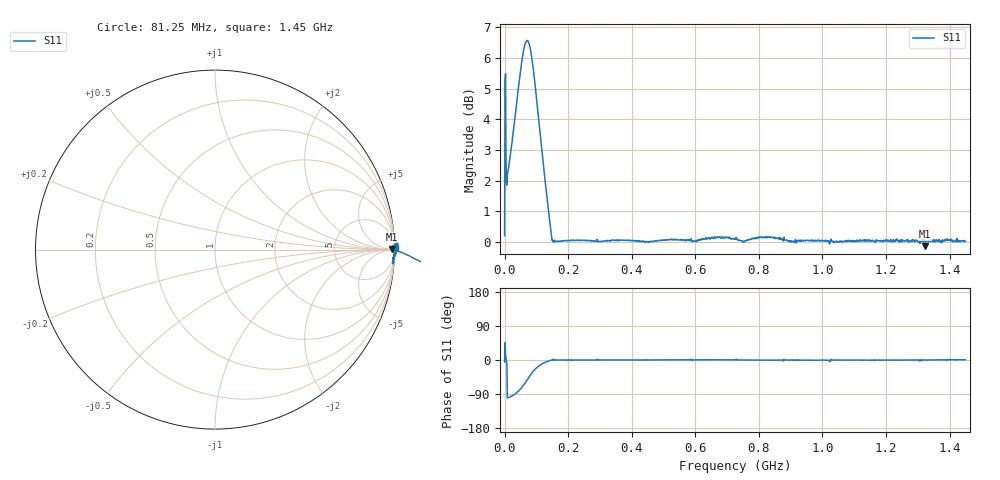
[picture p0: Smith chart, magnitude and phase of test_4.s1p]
! Created with skrf 1.11.0 (http://scikit-rf.org).
# Hz S RI R 50.0
!freq ReS11 ImS11
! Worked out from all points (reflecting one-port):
!   1001 points, 50 kHz to 1.45 GHz, reference 50 ohm
!   lowest |S11| = -0.1 dB at 1.322 GHz (marker M1), VSWR 127.38, Z = 6.17e+03 + j1.11e+03 ohm
!   phase of S11 starts at -5 deg and turns +6 deg over the sweep
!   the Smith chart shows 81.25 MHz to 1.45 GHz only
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50000  1.02 -0.0971
8749700  -0.2364 -1.268
1.019965e7  -0.2257 -1.28
1.16496e7  -0.2152 -1.294
1.599945e7  -0.1852 -1.346
2.759905e7  -0.0705 -1.515
3.77487e7  0.1009 -1.679
4.64484e7  0.3237 -1.81
5.659805e7  0.6883 -1.89
6.529775e7  1.061 -1.825
6.96476e7  1.243 -1.732
7.54474e7  1.445 -1.545
8.269715e7  1.61 -1.26
8.99469e7  1.666 -0.9634
9.86466e7  1.623 -0.6623
1.058964e8  1.542 -0.4649
1.14596e8  1.425 -0.298
1.247457e8  1.286 -0.161
1.493948e8  1.006 -0.00292
1.812938e8  1.004 -0.00186
3.625375e8  1.005 0.00227
5.437812e8  1.008 0.00918
7.25025e8  1.011 0.00513
9.062688e8  1.003 0.000476
1.087512e9  1.004 -0.00418
1.268756e9  1.009 0.00159
1.322404e9  0.9844 0.00279
1.45e9  1.002 0.00969
